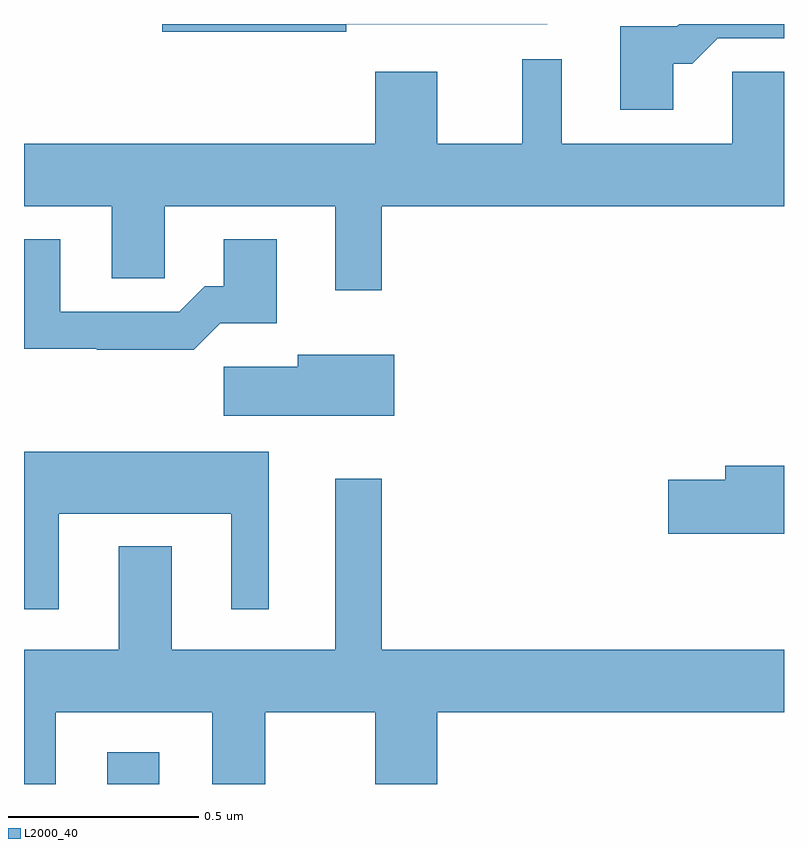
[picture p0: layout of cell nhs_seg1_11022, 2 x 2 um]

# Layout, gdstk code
import gdstk
lib = gdstk.Library(unit=1e-6, precision=1e-09)
def R(c, l, rs):  # rectangles x0, y0, x1, y1
    for r in rs: c.add(gdstk.rectangle(r[:2], r[2:], *l))
def P(c, l, *ps):  # polygons
    for p in ps: c.add(gdstk.Polygon(p, *l))
L2000_40 = (2000, 40)

nhs_seg1_11022 = lib.new_cell('nhs_seg1_11022')
R(nhs_seg1_11022, L2000_40, [(248.219,562.199,248.356,562.282)])
P(nhs_seg1_11022, L2000_40, [(249.709,564.095),(249.758,564.095),(249.825,564.162),(250,564.162),(250,564.199),(249.724,564.199),(249.718,564.193),(249.569,564.193),(249.569,563.973),(249.709,563.973)],
  [(248.848,564.198),(249.377,564.198),(249.377,564.199),(248.364,564.199),(248.364,564.178),(248.848,564.178)],
  [(248.941,563.72),(250,563.72),(250,564.074),(249.864,564.074),(249.864,563.884),(249.415,563.884),(249.415,564.106),(249.311,564.106),(249.311,563.884),(249.088,563.884),(249.088,564.073),(248.924,564.073),(248.924,563.884),(248,563.884),(248,563.72),(248.231,563.72),(248.231,563.53),(248.37,563.53),(248.37,563.72),(248.819,563.72),(248.819,563.499),(248.941,563.499)],
  [(248.516,563.411),(248.665,563.411),(248.665,563.632),(248.525,563.632),(248.525,563.509),(248.476,563.509),(248.409,563.442),(248.095,563.442),(248.095,563.632),(248,563.632),(248,563.344),(248.191,563.344),(248.191,563.342),(248.447,563.342)],
  [(248.974,563.329),(248.72,563.329),(248.72,563.297),(248.526,563.297),(248.526,563.168),(248.974,563.168)],
  [(248.092,562.91),(248.546,562.91),(248.546,562.659),(248.644,562.659),(248.644,563.074),(248,563.074),(248,562.659),(248.092,562.659)],
  [(250,563.036),(249.845,563.036),(249.845,563),(249.696,563),(249.696,562.858),(250,562.858)],
  [(248.083,562.388),(248.495,562.388),(248.495,562.199),(248.635,562.199),(248.635,562.388),(248.924,562.388),(248.924,562.199),(249.088,562.199),(249.088,562.388),(250,562.388),(250,562.552),(248.941,562.552),(248.941,563.002),(248.819,563.002),(248.819,562.552),(248.389,562.552),(248.389,562.825),(248.249,562.825),(248.249,562.552),(248,562.552),(248,562.199),(248.083,562.199)])

lib.write_gds('nhs_seg1_11022.gds')
